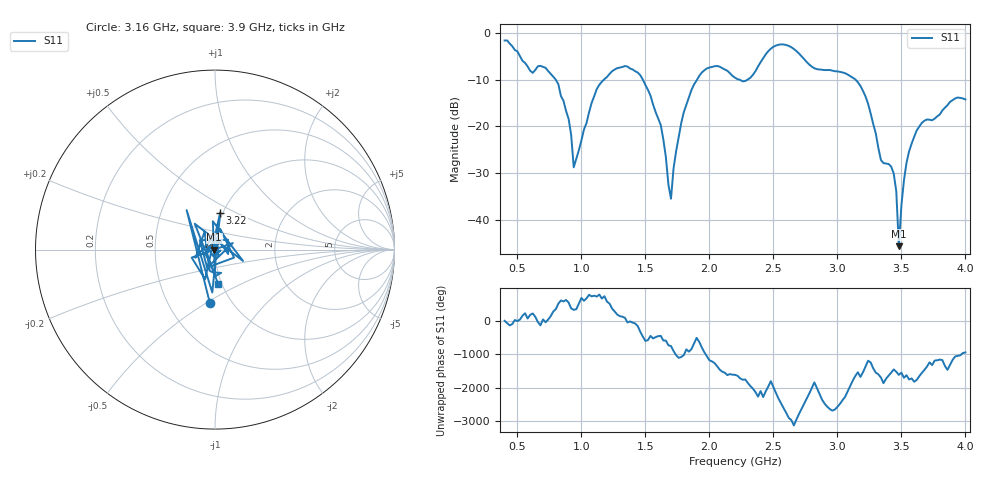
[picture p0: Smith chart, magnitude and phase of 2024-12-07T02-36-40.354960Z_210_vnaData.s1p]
!Created with skrf (http://scikit-rf.org).
# Hz S RI R 50.0
!freq ReS11 ImS11
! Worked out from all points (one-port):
!   181 points, 400 MHz to 4 GHz, reference 50 ohm
!   lowest |S11| = -45.6 dB at 3.48 GHz (marker M1), VSWR 1.01, Z = 49.5 - j0.0611 ohm
!   |S11| at or under -10 dB: 799.5 MHz to 1.176 GHz (376.7 MHz wide, 38.1 % of centre); 1.48 GHz to 1.904 GHz (423.7 MHz wide, 25 % of centre); 3.142 GHz to end of sweep (the widest 3 of 4)
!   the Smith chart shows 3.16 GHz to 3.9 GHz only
!   S11 on the Smith chart (normalised r, x): 3.16 GHz: 0.80, -0.51; 3.22 GHz: 0.97, +0.42; 3.9 GHz: 0.96, -0.38
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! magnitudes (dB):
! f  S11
! 400 MHz  -1.6
! 620 MHz  -8.5
! 720 MHz  -7.5
! 860 MHz  -14.5
! 920 MHz  -21.8
! 940 MHz  -28.7
! 1.12 GHz  -12.0
! 1.3 GHz  -7.4
! 1.54 GHz  -13.4
! 1.62 GHz  -19.7
! 1.7 GHz  -35.5
! 1.76 GHz  -22.3
! 1.94 GHz  -8.5
! 2.2 GHz  -9.6
! 2.52 GHz  -2.7
! 2.66 GHz  -3.5
! 3.1 GHz  -9.2
! 3.16 GHz  -10.6
! 3.22 GHz  -13.6
! 3.34 GHz  -27.2
! 3.44 GHz  -30.1
! 3.46 GHz  -33.8
! 3.48 GHz  -45.6
! 3.52 GHz  -31.5
! 3.56 GHz  -25.3
! 3.66 GHz  -19.2
! 3.9 GHz  -14.4
! 4 GHz  -14.2
